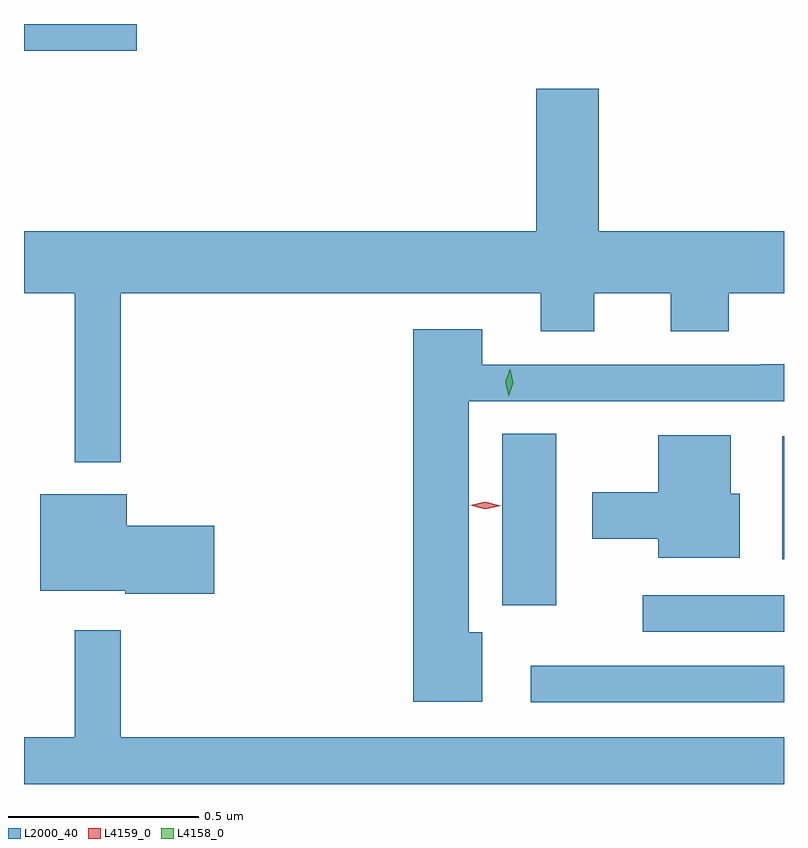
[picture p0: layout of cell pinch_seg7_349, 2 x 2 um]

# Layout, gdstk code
import gdstk
lib = gdstk.Library(unit=1e-6, precision=1e-09)
def R(c, l, rs):  # rectangles x0, y0, x1, y1
    for r in rs: c.add(gdstk.rectangle(r[:2], r[2:], *l))
def P(c, l, *ps):  # polygons
    for p in ps: c.add(gdstk.Polygon(p, *l))
L2000_40 = (2000, 40)
L4158_0 = (4158, 0)
L4159_0 = (4159, 0)

pinch_seg7_349 = lib.new_cell('pinch_seg7_349')
R(pinch_seg7_349, L2000_40, [(380.778,1043.496,381.444,1043.592), (381.072,1043.682,381.444,1043.778), (380.702,1043.751,380.845,1044.203), (381.44,1043.873,381.444,1044.196), (379.444,1045.21,379.741,1045.281)])
P(pinch_seg7_349, L2000_40, [(379.699,1044.572),(380.804,1044.572),(380.804,1044.473),(380.944,1044.473),(380.944,1044.572),(381.146,1044.572),(381.146,1044.473),(381.299,1044.473),(381.299,1044.572),(381.444,1044.572),(381.444,1044.736),(380.956,1044.736),(380.956,1045.111),(380.792,1045.111),(380.792,1044.736),(379.444,1044.736),(379.444,1044.572),(379.577,1044.572),(379.577,1044.128),(379.699,1044.128)],
  [(380.65,1043.68),(380.614,1043.68),(380.614,1044.288),(381.444,1044.288),(381.444,1044.386),(381.382,1044.386),(381.382,1044.384),(380.65,1044.384),(380.65,1044.478),(380.468,1044.478),(380.468,1043.498),(380.65,1043.498)],
  [(381.328,1044.045),(381.304,1044.045),(381.304,1044.199),(381.113,1044.199),(381.113,1044.049),(380.94,1044.049),(380.94,1043.927),(381.113,1043.927),(381.113,1043.876),(381.328,1043.876)],
  [(379.945,1043.96),(379.714,1043.96),(379.714,1044.043),(379.487,1044.043),(379.487,1043.789),(379.71,1043.789),(379.71,1043.782),(379.945,1043.782)],
  [(381.444,1043.404),(379.699,1043.404),(379.699,1043.686),(379.577,1043.686),(379.577,1043.404),(379.444,1043.404),(379.444,1043.281),(381.444,1043.281)])
P(pinch_seg7_349, L4158_0, [(380.72,1044.301),(380.72,1044.301),(380.711,1044.338),(380.722,1044.373),(380.722,1044.373),(380.723,1044.373),(380.731,1044.337),(380.72,1044.301)])
P(pinch_seg7_349, L4159_0, [(380.658,1044.004),(380.618,1044.014),(380.617,1044.015),(380.618,1044.015),(380.658,1044.024),(380.699,1044.013),(380.699,1044.013),(380.699,1044.013)])

lib.write_gds('pinch_seg7_349.gds')
